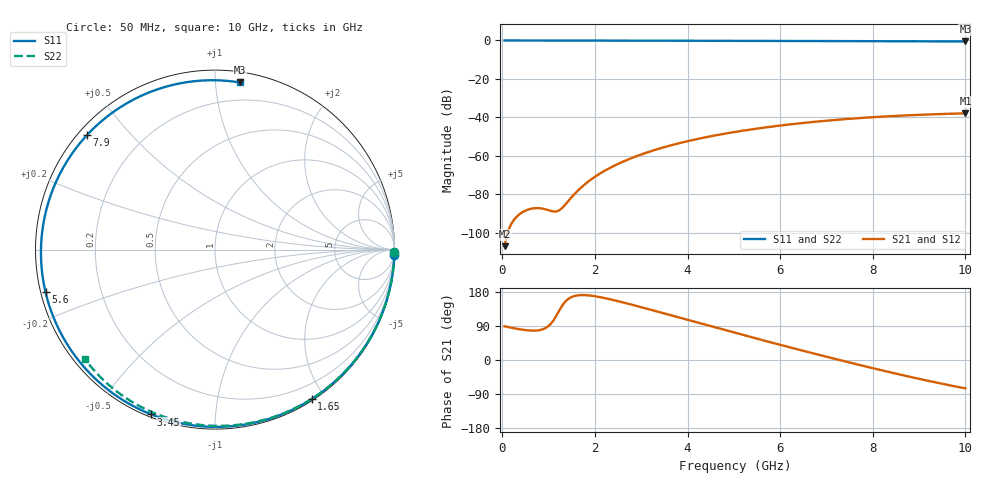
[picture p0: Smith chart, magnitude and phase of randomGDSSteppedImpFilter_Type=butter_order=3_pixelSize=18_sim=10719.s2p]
! freq	dB(S11)	phase(S11)	dB(S12)	phase(S12)
!  dB(S21)	phase(S21)	dB(S22)	phase(S22)
!S-par simulation data
#  GHz  S  DB  R 50
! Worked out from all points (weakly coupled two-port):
!   200 points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, 50 MHz to 10 GHz, reference 50 ohm
!   highest |S21| = -37.89 dB at 10 GHz (marker M1); lowest = -107.0 dB at 50 MHz (marker M2)
!   lowest |S11| = -0.5 dB at 10 GHz (marker M3), VSWR 33.14, Z = 3.53 + j57.9 ohm
!   |S11| at or under -10 dB: nowhere
!   |S22| runs from -0.5 to 0.0 dB; largest |S21 - S12| = 0
!   S11 on the Smith chart (normalised r, x): 50 MHz: 0, -63; 1.65 GHz: 0.02, -1.84; 3.45 GHz: 0.01, -0.69; 5.6 GHz: 0.01, -0.12; 7.9 GHz: 0.03, +0.38; 10 GHz: 0.07, +1.16
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0.05  -0.00 -1.8  -106.97 88.9  -106.97 88.9  -0.00 -0.8
0.4  -0.02 -14.3  -89.85 80.6  -89.85 80.6  -0.01 -6.5
0.75  -0.03 -26.6  -87.17 77.9  -87.17 77.9  -0.02 -12.1
1.15  -0.05 -40.4  -88.97 113.3  -88.97 113.3  -0.02 -18.4
1.55  -0.07 -53.9  -80.10 168.6  -80.10 168.6  -0.03 -24.8
1.65  -0.07 -57.2  -77.66 170.9  -77.66 170.9  -0.03 -26.3
1.75  -0.07 -60.4  -75.46 171.3  -75.46 171.3  -0.04 -27.9
2.05  -0.09 -70.0  -70.10 167.3  -70.10 167.3  -0.04 -32.6
2.45  -0.10 -82.4  -64.75 156.7  -64.75 156.7  -0.05 -38.8
2.9  -0.11 -95.7  -60.16 142.7  -60.16 142.7  -0.06 -45.6
3.4  -0.13 -109.8  -56.17 126.1  -56.17 126.1  -0.07 -53.1
3.45  -0.13 -111.2  -55.82 124.4  -55.82 124.4  -0.07 -53.8
4.25  -0.17 -132.4  -51.05 97.5  -51.05 97.5  -0.09 -65.5
5.05  -0.20 -152.5  -47.47 70.9  -47.47 70.9  -0.12 -76.7
5.6  -0.23 -165.9  -45.49 53.0  -45.49 53.0  -0.14 -84.2
6.15  -0.27 -179.1  -43.82 35.3  -43.82 35.3  -0.16 -91.6
6.7  -0.30 167.6  -42.40 17.9  -42.40 17.9  -0.19 -98.8
7.3  -0.34 153.0  -41.11 -0.6  -41.11 -0.6  -0.23 -106.5
7.9  -0.38 138.1  -40.06 -18.6  -40.06 -18.6  -0.27 -114.1
8.35  -0.41 126.5  -39.41 -31.7  -39.41 -31.7  -0.31 -119.7
9.2  -0.47 103.9  -38.49 -55.0  -38.49 -55.0  -0.39 -130.1
10  -0.52 81.5  -37.89 -74.9  -37.89 -74.9  -0.47 -139.9
